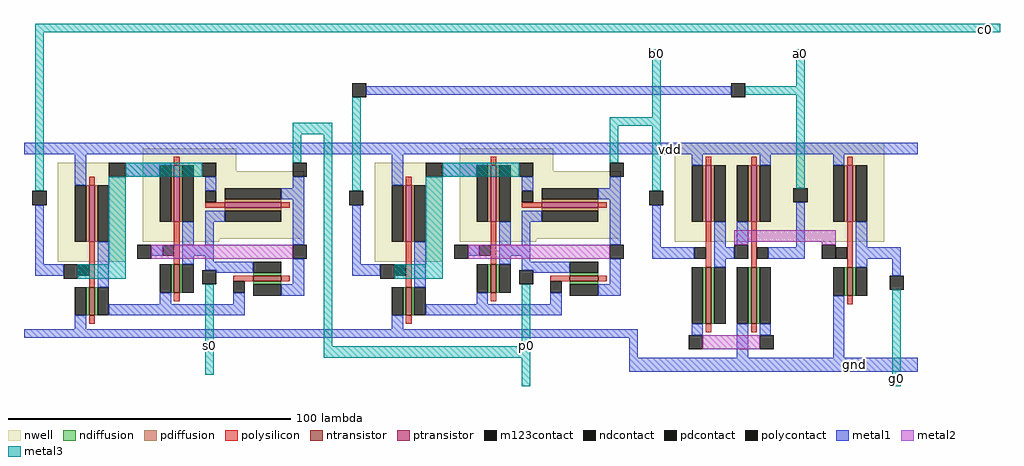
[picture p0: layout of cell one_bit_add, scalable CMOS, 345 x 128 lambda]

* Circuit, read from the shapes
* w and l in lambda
.subckt one_bit_add a0 b0 c0 g0 gnd p0 s0 vdd
M1 n1 c0 gnd VSUBS nfet w=10 l=2
M2 s0 p0 n1 VSUBS nfet w=10 l=2
M3 s0 n1 p0 VSUBS nfet w=10 l=2
M4 n2 a0 gnd VSUBS nfet w=10 l=2
M5 p0 b0 n2 VSUBS nfet w=10 l=2
M6 p0 n2 b0 VSUBS nfet w=10 l=2
M7 n3 b0 n4 VSUBS nfet w=20 l=2
M8 n4 a0 gnd VSUBS nfet w=20 l=2
M9 g0 n3 gnd VSUBS nfet w=10 l=2
M10 n1 c0 vdd n5 pfet w=20 l=2
M11 s0 p0 c0 n6 pfet w=20 l=2
M12 p0 c0 s0 n6 pfet w=20 l=2
M13 n2 a0 vdd n7 pfet w=20 l=2
M14 p0 b0 a0 n8 pfet w=20 l=2
M15 b0 a0 p0 n8 pfet w=20 l=2
M16 n3 b0 vdd n9 pfet w=20 l=2
M17 vdd a0 n3 n9 pfet w=20 l=2
M18 g0 n3 vdd n9 pfet w=20 l=2
.ends

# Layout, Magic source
magic
tech scmos
<< nwell >>
rect 1 31 25 66
rect 31 63 64 71
rect 31 39 88 63
rect 31 38 58 39
rect 113 31 137 66
rect 143 63 176 71
rect 143 39 200 63
rect 143 38 170 39
rect 219 38 293 73
<< ntransistor >>
rect 12 12 14 22
rect 42 20 44 30
rect 70 24 80 26
rect 124 12 126 22
rect 154 20 156 30
rect 182 24 192 26
rect 230 9 232 29
rect 246 9 248 29
rect 280 19 282 29
<< ptransistor >>
rect 12 38 14 58
rect 42 45 44 65
rect 60 50 80 52
rect 124 38 126 58
rect 154 45 156 65
rect 172 50 192 52
rect 230 45 232 65
rect 246 45 248 65
rect 280 45 282 65
<< ndiffusion >>
rect 11 12 12 22
rect 14 12 15 22
rect 41 20 42 30
rect 44 20 45 30
rect 70 26 80 27
rect 70 23 80 24
rect 123 12 124 22
rect 126 12 127 22
rect 153 20 154 30
rect 156 20 157 30
rect 182 26 192 27
rect 182 23 192 24
rect 229 9 230 29
rect 232 9 233 29
rect 245 9 246 29
rect 248 9 249 29
rect 279 19 280 29
rect 282 19 283 29
<< pdiffusion >>
rect 11 38 12 58
rect 14 38 15 58
rect 41 45 42 65
rect 44 45 45 65
rect 60 52 80 53
rect 60 49 80 50
rect 123 38 124 58
rect 126 38 127 58
rect 153 45 154 65
rect 156 45 157 65
rect 172 52 192 53
rect 172 49 192 50
rect 229 45 230 65
rect 232 45 233 65
rect 245 45 246 65
rect 248 45 249 65
rect 279 45 280 65
rect 282 45 283 65
<< ndcontact >>
rect 7 12 11 22
rect 15 12 19 22
rect 37 20 41 30
rect 45 20 49 30
rect 70 27 80 31
rect 70 19 80 23
rect 119 12 123 22
rect 127 12 131 22
rect 149 20 153 30
rect 157 20 161 30
rect 182 27 192 31
rect 182 19 192 23
rect 225 9 229 29
rect 233 9 237 29
rect 241 9 245 29
rect 249 9 253 29
rect 275 19 279 29
rect 283 19 287 29
<< pdcontact >>
rect 7 38 11 58
rect 15 38 19 58
rect 37 45 41 65
rect 45 45 49 65
rect 60 53 80 57
rect 60 45 80 49
rect 119 38 123 58
rect 127 38 131 58
rect 149 45 153 65
rect 157 45 161 65
rect 172 53 192 57
rect 172 45 192 49
rect 225 45 229 65
rect 233 45 237 65
rect 241 45 245 65
rect 249 45 253 65
rect 275 45 279 65
rect 283 45 287 65
<< polysilicon >>
rect 42 65 44 68
rect 154 65 156 68
rect 230 65 232 68
rect 246 65 248 68
rect 280 65 282 68
rect 12 58 14 61
rect 124 58 126 61
rect 53 50 60 52
rect 80 50 83 52
rect 12 22 14 38
rect 42 30 44 45
rect 165 50 172 52
rect 192 50 195 52
rect 63 24 70 26
rect 80 24 83 26
rect 42 17 44 20
rect 124 22 126 38
rect 154 30 156 45
rect 230 29 232 45
rect 246 29 248 45
rect 280 29 282 45
rect 175 24 182 26
rect 192 24 195 26
rect 154 17 156 20
rect 12 9 14 12
rect 124 9 126 12
rect 280 16 282 19
rect 230 6 232 9
rect 246 6 248 9
<< polycontact >>
rect 53 52 57 56
rect 8 26 12 30
rect 38 33 42 37
rect 165 52 169 56
rect 120 26 124 30
rect 63 20 67 24
rect 150 33 154 37
rect 226 32 230 36
rect 248 32 252 36
rect 276 32 280 36
rect 175 20 179 24
<< metal1 >>
rect 110 90 239 93
rect -11 69 305 73
rect 7 58 11 69
rect 25 65 41 66
rect 25 61 37 65
rect -7 30 -4 51
rect 53 56 57 61
rect 84 57 88 61
rect 80 53 88 57
rect 119 58 123 69
rect 137 65 153 66
rect 137 61 149 65
rect -7 26 3 30
rect 15 22 19 38
rect 45 37 49 45
rect 53 45 60 49
rect 53 37 56 45
rect 34 33 38 37
rect 45 33 56 37
rect 45 30 49 33
rect 53 31 56 33
rect 84 37 88 53
rect 53 28 70 31
rect 57 27 70 28
rect 84 23 88 32
rect 105 30 108 51
rect 165 56 169 61
rect 225 65 229 69
rect 249 65 253 69
rect 196 57 200 61
rect 192 53 200 57
rect 105 26 115 30
rect 37 16 41 20
rect 63 16 67 20
rect 80 19 88 23
rect 127 22 131 38
rect 157 37 161 45
rect 165 45 172 49
rect 165 37 168 45
rect 146 33 150 37
rect 157 33 168 37
rect 157 30 161 33
rect 19 12 67 16
rect 165 31 168 33
rect 196 37 200 53
rect 211 36 214 51
rect 233 36 237 45
rect 275 65 279 69
rect 241 37 245 45
rect 211 32 226 36
rect 233 32 240 36
rect 262 36 265 52
rect 252 32 265 36
rect 283 36 287 45
rect 283 32 299 36
rect 165 28 182 31
rect 169 27 182 28
rect 196 23 200 32
rect 233 29 237 32
rect 283 29 287 32
rect 149 16 153 20
rect 175 16 179 20
rect 192 19 200 23
rect 131 12 179 16
rect 7 7 11 12
rect 119 7 123 12
rect -11 4 206 7
rect 225 5 229 9
rect 203 -3 206 4
rect 241 -3 245 9
rect 249 5 253 9
rect 296 26 299 32
rect 275 -3 279 19
rect 203 -8 305 -3
<< metal2 >>
rect 240 38 276 42
rect 240 37 245 38
rect 34 32 84 37
rect 146 32 196 37
rect 271 37 276 38
rect 229 0 249 5
<< m123contact >>
rect 105 89 110 94
rect 239 89 244 94
rect 19 61 25 66
rect 52 61 57 66
rect 84 61 89 66
rect 131 61 137 66
rect 164 61 169 66
rect 196 61 201 66
rect -8 51 -3 56
rect 104 51 109 56
rect 210 51 215 56
rect 261 52 266 57
rect 29 32 34 37
rect 84 32 89 37
rect 141 32 146 37
rect 196 32 201 37
rect 240 32 245 37
rect 271 32 276 37
rect 3 25 8 30
rect 52 23 57 28
rect 115 25 120 30
rect 164 23 169 28
rect 295 21 300 26
rect 224 0 229 5
rect 249 0 254 5
<< metal3 >>
rect -7 112 334 115
rect -7 56 -4 112
rect 84 76 98 80
rect 84 66 87 76
rect 25 61 52 66
rect 19 30 25 61
rect 8 25 25 30
rect 53 -9 56 23
rect 95 1 98 76
rect 105 56 108 89
rect 211 82 214 106
rect 262 93 265 106
rect 244 90 265 93
rect 196 79 214 82
rect 196 66 199 79
rect 137 61 164 66
rect 131 30 137 61
rect 211 56 214 79
rect 262 57 265 90
rect 120 25 137 30
rect 165 1 168 23
rect 95 -3 168 1
rect 165 -13 168 -3
rect 296 -13 299 21
<< labels >>
rlabel metal1 217 70 218 71 3 vdd
rlabel metal1 282 -6 283 -5 1 gnd
rlabel metal3 263 104 264 105 5 a0
rlabel metal3 212 104 213 105 5 b0
rlabel metal3 166 1 167 2 1 p0
rlabel metal3 297 -11 298 -10 1 g0
rlabel metal3 54 1 55 2 1 s0
rlabel metal3 328 112 330 114 6 c0
<< end >>
